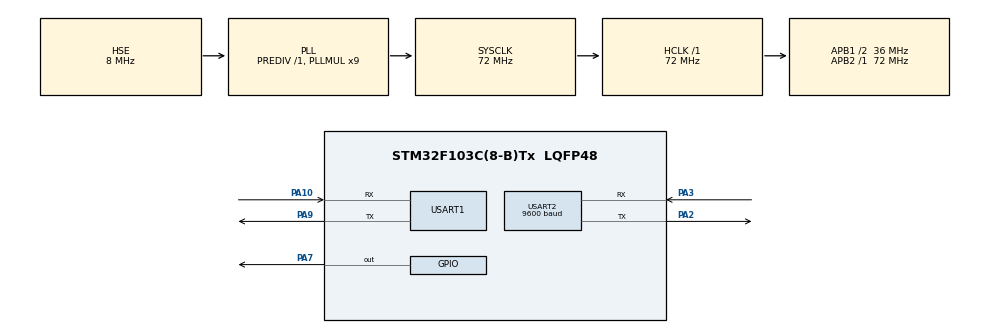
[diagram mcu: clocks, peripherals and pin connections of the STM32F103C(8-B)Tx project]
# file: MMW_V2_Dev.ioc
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Dma.Request0=USART2_RX
Dma.Request1=USART2_TX
Dma.Request2=USART1_RX
Dma.Request3=USART1_TX
Dma.USART1_RX.2.Direction=DMA_PERIPH_TO_MEMORY
Dma.USART1_RX.2.Instance=DMA1_Channel5
Dma.USART1_RX.2.MemDataAlignment=DMA_MDATAALIGN_BYTE
Dma.USART1_RX.2.MemInc=DMA_MINC_ENABLE
Dma.USART1_RX.2.Mode=DMA_CIRCULAR
Dma.USART1_RX.2.PeriphDataAlignment=DMA_PDATAALIGN_BYTE
Dma.USART1_RX.2.PeriphInc=DMA_PINC_DISABLE
Dma.USART1_RX.2.Priority=DMA_PRIORITY_LOW
Dma.USART1_TX.3.Direction=DMA_MEMORY_TO_PERIPH
Dma.USART1_TX.3.Instance=DMA1_Channel4
Dma.USART1_TX.3.MemDataAlignment=DMA_MDATAALIGN_BYTE
Dma.USART1_TX.3.MemInc=DMA_MINC_ENABLE
Dma.USART1_TX.3.Mode=DMA_CIRCULAR
Dma.USART1_TX.3.PeriphDataAlignment=DMA_PDATAALIGN_BYTE
Dma.USART1_TX.3.PeriphInc=DMA_PINC_DISABLE
Dma.USART1_TX.3.Priority=DMA_PRIORITY_LOW
Dma.USART2_RX.0.Direction=DMA_PERIPH_TO_MEMORY
Dma.USART2_RX.0.Instance=DMA1_Channel6
Dma.USART2_RX.0.MemDataAlignment=DMA_MDATAALIGN_BYTE
Dma.USART2_RX.0.MemInc=DMA_MINC_ENABLE
Dma.USART2_RX.0.Mode=DMA_CIRCULAR
Dma.USART2_RX.0.PeriphDataAlignment=DMA_PDATAALIGN_BYTE
Dma.USART2_RX.0.PeriphInc=DMA_PINC_DISABLE
Dma.USART2_RX.0.Priority=DMA_PRIORITY_LOW
Dma.USART2_TX.1.Direction=DMA_MEMORY_TO_PERIPH
Dma.USART2_TX.1.Instance=DMA1_Channel7
Dma.USART2_TX.1.MemDataAlignment=DMA_MDATAALIGN_BYTE
Dma.USART2_TX.1.MemInc=DMA_MINC_ENABLE
Dma.USART2_TX.1.Mode=DMA_CIRCULAR
Dma.USART2_TX.1.PeriphDataAlignment=DMA_PDATAALIGN_BYTE
Dma.USART2_TX.1.PeriphInc=DMA_PINC_DISABLE
Dma.USART2_TX.1.Priority=DMA_PRIORITY_LOW
Mcu.Family=STM32F1
Mcu.Name=STM32F103C(8-B)Tx
Mcu.Package=LQFP48
NVIC.DMA1_Channel4_IRQn=true\:0\:0\:false\:false\:true\:false\:true\:true
NVIC.DMA1_Channel5_IRQn=true\:0\:0\:false\:false\:true\:false\:true\:true
NVIC.DMA1_Channel6_IRQn=true\:0\:0\:false\:false\:true\:false\:true\:true
NVIC.DMA1_Channel7_IRQn=true\:0\:0\:false\:false\:true\:false\:true\:true
NVIC.PriorityGroup=NVIC_PRIORITYGROUP_4
NVIC.USART1_IRQn=true\:0\:0\:false\:false\:true\:true\:true\:true
NVIC.USART2_IRQn=true\:0\:0\:false\:false\:true\:true\:true\:true
PA10.Mode=Asynchronous
PA10.Signal=USART1_RX
PA13.Mode=Serial_Wire
PA13.Signal=SYS_JTMS-SWDIO
PA14.Mode=Serial_Wire
PA14.Signal=SYS_JTCK-SWCLK
PA2.Mode=Asynchronous
PA2.Signal=USART2_TX
PA3.Mode=Asynchronous
PA3.Signal=USART2_RX
PA7.Signal=GPIO_Output
PA9.Mode=Asynchronous
PA9.Signal=USART1_TX
PD0-OSC_IN.Mode=HSE-External-Oscillator
PD0-OSC_IN.Signal=RCC_OSC_IN
PD1-OSC_OUT.Mode=HSE-External-Oscillator
PD1-OSC_OUT.Signal=RCC_OSC_OUT
ProjectManager.HeapSize=0x200
ProjectManager.StackSize=0x400
ProjectManager.TargetToolchain=STM32CubeIDE
RCC.AHBFreq_Value=72000000
RCC.APB1CLKDivider=RCC_HCLK_DIV2
RCC.APB1Freq_Value=36000000
RCC.APB1TimFreq_Value=72000000
RCC.APB2Freq_Value=72000000
RCC.APB2TimFreq_Value=72000000
RCC.HCLKFreq_Value=72000000
RCC.PLLMUL=RCC_PLL_MUL9
RCC.PLLSourceVirtual=RCC_PLLSOURCE_HSE
RCC.SYSCLKFreq_VALUE=72000000
RCC.SYSCLKSource=RCC_SYSCLKSOURCE_PLLCLK
RCC.USBFreq_Value=72000000
TIM1.Period=0xffff-1
TIM1.Prescaler=72-1
USART1.VirtualMode=VM_ASYNC
USART2.BaudRate=9600
USART2.VirtualMode=VM_ASYNC
USART2.WordLength=WORDLENGTH_9B
VP_TIM1_VS_ClockSourceINT.Mode=Internal
board=custom

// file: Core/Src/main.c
/* USER CODE BEGIN Header */
/**
  ******************************************************************************
  * @file           : main.c
  * @brief          : Main program body
  ******************************************************************************
  * @attention
  *
  * Copyright (c) 2022 STMicroelectronics.
  * All rights reserved.
  *
  * This software is licensed under terms that can be found in the LICENSE file
  * in the root directory of this software component.
  * If no LICENSE file comes with this software, it is provided AS-IS.
  *
  ******************************************************************************
  */
/* USER CODE END Header */
#include "main.h"
#include "string.h"
#include "stdio.h"
//#include "Timing.hpp"
//#include "DS18B20.hpp"

 TIM_HandleTypeDef htim1;

UART_HandleTypeDef huart1;
UART_HandleTypeDef huart2;
DMA_HandleTypeDef hdma_usart1_rx;
DMA_HandleTypeDef hdma_usart1_tx;
DMA_HandleTypeDef hdma_usart2_rx;
DMA_HandleTypeDef hdma_usart2_tx;

void SystemClock_Config(void);
static void MX_GPIO_Init(void);
static void MX_DMA_Init(void);
static void MX_USART1_UART_Init(void);
static void MX_USART2_UART_Init(void);
static void MX_TIM1_Init(void);

/* USER CODE BEGIN 0 */

/**************************** Uart Buffers ****************************/

uint8_t Rx_data_from_stc[5];
uint8_t receivedData4G[2];

/**************************** Sensors Status ****************************/

int Drop_Status = 0; // -1 = DropFail, 0 = NoDrop, 1 = DropSuccess
int Door_Status = 0;

uint8_t dapat[2];//For debug purpose

/**************************** Single Motor Hex Return ****************************/

uint8_t Drop_Success[5] = {0xFB,  0x02,  0x05,  0x00,  0xFB};
uint8_t Drop_Not_Success[5] = {0xFB,  0x02,  0x02,  0x00,  0xFB};
uint8_t Motor_Error[5] = {0xFB,  0x02,  0x00,  0x00,  0xFB};

/**************************** Single Motor Hex Command ****************************/

uint16_t A1[6] = {0xFB,  0x02,  0x06,  0x0A,  0x01,  0xFB};
uint16_t A2[6] = {0xFB,  0x02,  0x06,  0x09,  0x01,  0xFB};
uint16_t A3[6] = {0xFB,  0x02,  0x06,  0x08,  0x01,  0xFB};
uint16_t A4[6] = {0xFB,  0x02,  0x06,  0x07,  0x01,  0xFB};
uint16_t A5[6] = {0xFB,  0x02,  0x06,  0x06,  0x01,  0xFB};
uint16_t A6[6] = {0xFB,  0x02,  0x06,  0x05,  0x01,  0xFB};
uint16_t A7[6] = {0xFB,  0x02,  0x06,  0x04,  0x01,  0xFB};
uint16_t A8[6] = {0xFB,  0x02,  0x06,  0x03,  0x01,  0xFB};
uint16_t A9[6] = {0xFB,  0x02,  0x06,  0x02,  0x01,  0xFB};
uint16_t A10[6] ={0xFB,  0x02,  0x06,  0x01,  0x01,  0xFB};
uint16_t B1[6] = {0xFB,  0x02,  0x05,  0x0A,  0x01,  0xFB};
uint16_t B2[6] = {0xFB,  0x02,  0x05,  0x09,  0x01,  0xFB};
uint16_t B3[6] = {0xFB,  0x02,  0x05,  0x08,  0x01,  0xFB};
uint16_t B4[6] = {0xFB,  0x02,  0x05,  0x07,  0x01,  0xFB};
uint16_t B5[6] = {0xFB,  0x02,  0x05,  0x06,  0x01,  0xFB};
uint16_t B6[6] = {0xFB,  0x02,  0x05,  0x05,  0x01,  0xFB};
uint16_t B7[6] = {0xFB,  0x02,  0x05,  0x04,  0x01,  0xFB};
uint16_t B8[6] = {0xFB,  0x02,  0x05,  0x03,  0x01,  0xFB};
uint16_t B9[6] = {0xFB,  0x02,  0x05,  0x02,  0x01,  0xFB};
uint16_t B10[6] ={0xFB,  0x02,  0x05,  0x01,  0x01,  0xFB};
uint16_t C1[6] = {0xFB,  0x02,  0x04,  0x0A,  0x01,  0xFB};
uint16_t C2[6] = {0xFB,  0x02,  0x04,  0x09,  0x01,  0xFB};
uint16_t C3[6] = {0xFB,  0x02,  0x04,  0x08,  0x01,  0xFB};
uint16_t C4[6] = {0xFB,  0x02,  0x04,  0x07,  0x01,  0xFB};
uint16_t C5[6] = {0xFB,  0x02,  0x04,  0x06,  0x01,  0xFB};
uint16_t C6[6] = {0xFB,  0x02,  0x04,  0x05,  0x01,  0xFB};
uint16_t C7[6] = {0xFB,  0x02,  0x04,  0x04,  0x01,  0xFB};
uint16_t C8[6] = {0xFB,  0x02,  0x04,  0x03,  0x01,  0xFB};
uint16_t C9[6] = {0xFB,  0x02,  0x04,  0x02,  0x01,  0xFB};
uint16_t C10[6] ={0xFB,  0x02,  0x04,  0x01,  0x01,  0xFB};
uint16_t D1[6] = {0xFB,  0x02,  0x03,  0x0A,  0x01,  0xFB};
uint16_t D2[6] = {0xFB,  0x02,  0x03,  0x09,  0x01,  0xFB};
uint16_t D3[6] = {0xFB,  0x02,  0x03,  0x08,  0x01,  0xFB};
uint16_t D4[6] = {0xFB,  0x02,  0x03,  0x07,  0x01,  0xFB};
uint16_t D5[6] = {0xFB,  0x02,  0x03,  0x06,  0x01,  0xFB};
uint16_t D6[6] = {0xFB,  0x02,  0x03,  0x05,  0x01,  0xFB};
uint16_t D7[6] = {0xFB,  0x02,  0x03,  0x04,  0x01,  0xFB};
uint16_t D8[6] = {0xFB,  0x02,  0x03,  0x03,  0x01,  0xFB};
uint16_t D9[6] = {0xFB,  0x02,  0x03,  0x02,  0x01,  0xFB};
uint16_t D10[6] ={0xFB,  0x02,  0x03,  0x01,  0x01,  0xFB};
uint16_t E1[6] = {0xFB,  0x02,  0x02,  0x0A,  0x01,  0xFB};
uint16_t E2[6] = {0xFB,  0x02,  0x02,  0x09,  0x01,  0xFB};
uint16_t E3[6] = {0xFB,  0x02,  0x02,  0x08,  0x01,  0xFB};
uint16_t E4[6] = {0xFB,  0x02,  0x02,  0x07,  0x01,  0xFB};
uint16_t E5[6] = {0xFB,  0x02,  0x02,  0x06,  0x01,  0xFB};
uint16_t E6[6] = {0xFB,  0x02,  0x02,  0x05,  0x01,  0xFB};
uint16_t E7[6] = {0xFB,  0x02,  0x02,  0x04,  0x01,  0xFB};
uint16_t E8[6] = {0xFB,  0x02,  0x02,  0x03,  0x01,  0xFB};
uint16_t E9[6] = {0xFB,  0x02,  0x02,  0x02,  0x01,  0xFB};
uint16_t E10[6] ={0xFB,  0x02,  0x02,  0x01,  0x01,  0xFB};
uint16_t F1[6] = {0xFB,  0x02,  0x01,  0x0A,  0x01,  0xFB};
uint16_t F2[6] = {0xFB,  0x02,  0x01,  0x09,  0x01,  0xFB};
uint16_t F3[6] = {0xFB,  0x02,  0x01,  0x08,  0x01,  0xFB};
uint16_t F4[6] = {0xFB,  0x02,  0x01,  0x07,  0x01,  0xFB};
uint16_t F5[6] = {0xFB,  0x02,  0x01,  0x06,  0x01,  0xFB};
uint16_t F6[6] = {0xFB,  0x02,  0x01,  0x05,  0x01,  0xFB};
uint16_t F7[6] = {0xFB,  0x02,  0x01,  0x04,  0x01,  0xFB};
uint16_t F8[6] = {0xFB,  0x02,  0x01,  0x03,  0x01,  0xFB};
uint16_t F9[6] = {0xFB,  0x02,  0x01,  0x02,  0x01,  0xFB};
uint16_t F10[6] ={0xFB,  0x02,  0x01,  0x01,  0x01,  0xFB};

uint8_t Temp_byte1;
uint8_t Temp_byte2;
uint16_t TEMP;

float Temperature = 0;
char TempString[4];
uint8_t Presence = 0;

void delay (uint32_t us)
{
    __HAL_TIM_SET_COUNTER(&htim1,0);
    while ((__HAL_TIM_GET_COUNTER(&htim1))<us);
}

void Set_Pin_Output (GPIO_TypeDef *GPIOx, uint16_t GPIO_Pin)
{
  GPIO_InitTypeDef GPIO_InitStruct = {0};
  GPIO_InitStruct.Pin = GPIO_Pin;
  GPIO_InitStruct.Mode = GPIO_MODE_OUTPUT_PP;
  GPIO_InitStruct.Speed = GPIO_SPEED_FREQ_LOW;
  HAL_GPIO_Init(GPIOx, &GPIO_InitStruct);
}

void Set_Pin_Input (GPIO_TypeDef *GPIOx, uint16_t GPIO_Pin)
{
  GPIO_InitTypeDef GPIO_InitStruct = {0};
  GPIO_InitStruct.Pin = GPIO_Pin;
  GPIO_InitStruct.Mode = GPIO_MODE_INPUT;
  GPIO_InitStruct.Pull = GPIO_NOPULL;
  HAL_GPIO_Init(GPIOA, &GPIO_InitStruct);
}

/**************************** DS18B20 FUNCTIONS ****************************/
#define DS18B20_PORT GPIOA
#define DS18B20_PIN GPIO_PIN_7

uint8_t DS18B20_Start (void)
{
	uint8_t Response = 0;
	Set_Pin_Output(DS18B20_PORT, DS18B20_PIN);   // set the pin as output
	HAL_GPIO_WritePin (DS18B20_PORT, DS18B20_PIN, 0);  // pull the pin low
	delay (480);   // delay according to datasheet

	Set_Pin_Input(DS18B20_PORT, DS18B20_PIN);    // set the pin as input
	delay (80);    // delay according to datasheet

	if (!(HAL_GPIO_ReadPin (DS18B20_PORT, DS18B20_PIN))) Response = 1;    // if the pin is low i.e the presence pulse is detected
	else Response = -1;

	delay (400); // 480 us delay totally.

	return Response;
}

void DS18B20_Write (uint8_t data)
{
	Set_Pin_Output(DS18B20_PORT, DS18B20_PIN);  // set as output

	for (int i=0; i<8; i++)
	{

		if ((data & (1<<i))!=0)  // if the bit is high
		{
			// write 1

			Set_Pin_Output(DS18B20_PORT, DS18B20_PIN);  // set as output
			HAL_GPIO_WritePin (DS18B20_PORT, DS18B20_PIN, 0);  // pull the pin LOW
			delay (1);  // wait for 1 us

			Set_Pin_Input(DS18B20_PORT, DS18B20_PIN);  // set as input
			delay (50);  // wait for 60 us
		}

		else  // if the bit is low
		{
			// write 0

			Set_Pin_Output(DS18B20_PORT, DS18B20_PIN);
			HAL_GPIO_WritePin (DS18B20_PORT, DS18B20_PIN, 0);  // pull the pin LOW
			delay (50);  // wait for 60 us

			Set_Pin_Input(DS18B20_PORT, DS18B20_PIN);
		}
	}
}

uint8_t DS18B20_Read (void)
{
	uint8_t value=0;
	Set_Pin_Input(DS18B20_PORT, DS18B20_PIN);

	for (int i=0;i<8;i++)
	{
		Set_Pin_Output(DS18B20_PORT, DS18B20_PIN);   // set as output

		HAL_GPIO_WritePin (DS18B20_PORT, DS18B20_PIN, 0);  // pull the data pin LOW
		delay (2);  // wait for 2 us

		Set_Pin_Input(DS18B20_PORT, DS18B20_PIN);  // set as input
		if (HAL_GPIO_ReadPin (DS18B20_PORT, DS18B20_PIN))  // if the pin is HIGH
		{
			value |= 1<<i;  // read = 1
		}
		delay (60);  // wait for 60 us
	}
	return value;
}

/**************************** UART CALLBACK FUNCTIONS ****************************/

char Tx_buff[20];

void HAL_UART_TxCpltCallback(UART_HandleTypeDef *huart)
{
	//HAL_UART_Transmit_IT(&huart2, Tx_data, sizeof(Tx_data));
}

void HAL_UART_RxCpltCallback(UART_HandleTypeDef *huart){
	HAL_UART_Receive_DMA(&huart2, Rx_data_from_stc, 5); //restart the interupt reception mode
	HAL_UART_Receive_IT(&huart1,receivedData4G, 2);

}

/**************************** LOOPING FUNCTIONS ****************************/

void write_read_Temperature(){

	  Presence = DS18B20_Start();
	  HAL_Delay (1);
	  DS18B20_Write (0xCC);  // skip ROM
	  DS18B20_Write (0x44);  // convert t
	  HAL_Delay (800);

	  Presence = DS18B20_Start();
	  HAL_Delay(1);
	  DS18B20_Write (0xCC);  // skip ROM
	  DS18B20_Write (0xBE);  // Read Scratch-pad

	  Temp_byte1 = DS18B20_Read();
	  Temp_byte2 = DS18B20_Read();

	  TEMP = (Temp_byte2<<8)|Temp_byte1;
	  Temperature = (float)TEMP/16;
	  gcvt(Temperature, 4, TempString);

	  //HAL_Delay(3000);
}

void transmit_Data_to_DTU(){

	if (strcmp(Rx_data_from_stc, Drop_Success) == 0){
		Drop_Status = 1;
		sprintf(Tx_buff, "%s_%d", TempString, Drop_Status);
		dapat[0] = 2;
		dapat[1] = 2;
		HAL_UART_Transmit_IT(&huart1, Tx_buff, sizeof(Tx_buff));
		for(int i = 0; i < sizeof(Rx_data_from_stc); i++){
			Rx_data_from_stc[i] = 0;
		}

	}
	else if (strcmp(Rx_data_from_stc, Drop_Not_Success) == 0){
		Drop_Status = -1;
		sprintf(Tx_buff, "%s_%d", TempString, Drop_Status);
		dapat[0] = 3;
		dapat[1] = 3;
		HAL_UART_Transmit_IT(&huart1, Tx_buff, sizeof(Tx_buff));
		for(int i = 0; i < sizeof(Rx_data_from_stc); i++){
			Rx_data_from_stc[i] = 0;
		}
	}
	else if (strcmp(Rx_data_from_stc, Motor_Error) == 0){
		HAL_UART_Transmit_IT(&huart1, "ME\n", 5);
		dapat[0] = 4;
		dapat[1] = 4;
	}
	else{

	}
}

void receive_Command_from_DTU(void){

	/**************************** Run Single Motor ****************************/
	/////TRAY A/////
	if(strcmp(receivedData4G, "A1") == 0){       		//A1
	     HAL_UART_Transmit_IT(&huart2, (uint8_t *)A1, 6);
	     HAL_Delay(2000);
	     receivedData4G[0] = 0;
	     receivedData4G[1] = 0;
	}

	 else if (strcmp(receivedData4G, "A2") == 0){       //A2
	     HAL_UART_Transmit_IT(&huart2, (uint8_t *)A2, 6);
	     HAL_Delay(2000);
	     receivedData4G[0] = 0;
	     receivedData4G[1] = 0;
	  }
	 else if (strcmp(receivedData4G, "A3") == 0){       //A3
	     HAL_UART_Transmit_IT(&huart2, (uint8_t *)A3, 6);
	     HAL_Delay(2000);
	     receivedData4G[0] = 0;
	     receivedData4G[1] = 0;
	  }
	 else if (strcmp(receivedData4G, "A4") == 0){       //A4
	     HAL_UART_Transmit_IT(&huart2, (uint8_t *)A4, 6);
	     HAL_Delay(2000);
	     receivedData4G[0] = 0;
	     receivedData4G[1] = 0;
	  }
	 else if (strcmp(receivedData4G, "A5") == 0){       //A5
	     HAL_UART_Transmit_IT(&huart2, (uint8_t *)A5, 6);
	     HAL_Delay(2000);
	     receivedData4G[0] = 0;
	     receivedData4G[1] = 0;
	  }
	 else if (strcmp(receivedData4G, "A6") == 0){       //A6
	     HAL_UART_Transmit_IT(&huart2, (uint8_t *)A6, 6);
	     HAL_Delay(2000);
	     receivedData4G[0] = 0;
	     receivedData4G[1] = 0;
	  }
	 else if (strcmp(receivedData4G, "A7") == 0){       //A7
	     HAL_UART_Transmit_IT(&huart2, (uint8_t *)A7, 6);
	     HAL_Delay(2000);
	     receivedData4G[0] = 0;
	     receivedData4G[1] = 0;
	  }
	 else if (strcmp(receivedData4G, "A8") == 0){       //A8
	     HAL_UART_Transmit_IT(&huart2, (uint8_t *)A8, 6);
	     HAL_Delay(2000);
	     receivedData4G[0] = 0;
	     receivedData4G[1] = 0;
	  }
	 else if (strcmp(receivedData4G, "A9") == 0){       //A9
	     HAL_UART_Transmit_IT(&huart2, (uint8_t *)A9, 6);
	     HAL_Delay(2000);
	     receivedData4G[0] = 0;
	     receivedData4G[1] = 0;
	  }
	 else if (strcmp(receivedData4G, "AA") == 0){       //A10
	     HAL_UART_Transmit_IT(&huart2, (uint8_t *)A10, 6);
	     HAL_Delay(2000);
	     receivedData4G[0] = 0;
	     receivedData4G[1] = 0;
	  }
	 /////TRAY B/////
	 else if (strcmp(receivedData4G, "B1") == 0){       //B1
	     HAL_UART_Transmit_IT(&huart2, (uint8_t *)B1, 6);
	     HAL_Delay(2000);
	     receivedData4G[0] = 0;
	     receivedData4G[1] = 0;
	  }
	 else if (strcmp(receivedData4G, "B2") == 0){       //B2
	     HAL_UART_Transmit_IT(&huart2, (uint8_t *)B2, 6);
	     HAL_Delay(2000);
	     receivedData4G[0] = 0;
	     receivedData4G[1] = 0;
	  }
	 else if (strcmp(receivedData4G, "B3") == 0){       //B3
	     HAL_UART_Transmit_IT(&huart2, (uint8_t *)B3, 6);
	     HAL_Delay(2000);
	     receivedData4G[0] = 0;
	     receivedData4G[1] = 0;
	  }
	 else if (strcmp(receivedData4G, "B4") == 0){       //B4
	     HAL_UART_Transmit_IT(&huart2, (uint8_t *)B4, 6);
	     HAL_Delay(2000);
	     receivedData4G[0] = 0;
	     receivedData4G[1] = 0;
	  }
	 else if (strcmp(receivedData4G, "B5") == 0){       //B5
	     HAL_UART_Transmit_IT(&huart2, (uint8_t *)B5, 6);
	     HAL_Delay(2000);
	     receivedData4G[0] = 0;
	     receivedData4G[1] = 0;
	  }
	 else if (strcmp(receivedData4G, "B6") == 0){       //B6
	     HAL_UART_Transmit_IT(&huart2, (uint8_t *)B6, 6);
	     HAL_Delay(2000);
	     receivedData4G[0] = 0;
	     receivedData4G[1] = 0;
	  }
	 else if (strcmp(receivedData4G, "B7") == 0){       //B7
	     HAL_UART_Transmit_IT(&huart2, (uint8_t *)B7, 6);
	     HAL_Delay(2000);
	     receivedData4G[0] = 0;
	     receivedData4G[1] = 0;
	  }
	 else if (strcmp(receivedData4G, "B8") == 0){       //B8
	     HAL_UART_Transmit_IT(&huart2, (uint8_t *)B8, 6);
	     HAL_Delay(2000);
	     receivedData4G[0] = 0;
	     receivedData4G[1] = 0;
	  }
	 else if (strcmp(receivedData4G, "B9") == 0){       //B9
	     HAL_UART_Transmit_IT(&huart2, (uint8_t *)B9, 6);
	     HAL_Delay(2000);
	     receivedData4G[0] = 0;
	     receivedData4G[1] = 0;
	  }
	 else if (strcmp(receivedData4G, "BB") == 0){       //B10
	     HAL_UART_Transmit_IT(&huart2, (uint8_t *)B10, 6);
	     HAL_Delay(2000);
	     receivedData4G[0] = 0;
	     receivedData4G[1] = 0;
	  }
	 /////TRAY C/////
	 else if (strcmp(receivedData4G, "C1") == 0){       //C1
	     HAL_UART_Transmit_IT(&huart2, (uint8_t *)C1, 6);
	     HAL_Delay(2000);
	     receivedData4G[0] = 0;
	     receivedData4G[1] = 0;
	  }
	 else if (strcmp(receivedData4G, "C2") == 0){       //C2
	     HAL_UART_Transmit_IT(&huart2, (uint8_t *)C2, 6);
	     HAL_Delay(2000);
	     receivedData4G[0] = 0;
	     receivedData4G[1] = 0;
	  }
	 else if (strcmp(receivedData4G, "C3") == 0){       //C3
	     HAL_UART_Transmit_IT(&huart2, (uint8_t *)C3, 6);
	     HAL_Delay(2000);
	     receivedData4G[0] = 0;
	     receivedData4G[1] = 0;
	  }
	 else if (strcmp(receivedData4G, "C4") == 0){       //C4
	     HAL_UART_Transmit_IT(&huart2, (uint8_t *)C4, 6);
	     HAL_Delay(2000);
	     receivedData4G[0] = 0;
	     receivedData4G[1] = 0;
	  }
	 else if (strcmp(receivedData4G, "C5") == 0){       //C5
	     HAL_UART_Transmit_IT(&huart2, (uint8_t *)C5, 6);
	     HAL_Delay(2000);
	     receivedData4G[0] = 0;
	     receivedData4G[1] = 0;
	  }
	 else if (strcmp(receivedData4G, "C6") == 0){       //C6
	     HAL_UART_Transmit_IT(&huart2, (uint8_t *)C6, 6);
	     HAL_Delay(2000);
	     receivedData4G[0] = 0;
	     receivedData4G[1] = 0;
	  }
	 else if (strcmp(receivedData4G, "C7") == 0){       //C7
	     HAL_UART_Transmit_IT(&huart2, (uint8_t *)C7, 6);
	     HAL_Delay(2000);
	     receivedData4G[0] = 0;
	     receivedData4G[1] = 0;
	  }
	 else if (strcmp(receivedData4G, "C8") == 0){       //C8
	     HAL_UART_Transmit_IT(&huart2, (uint8_t *)C8, 6);
	     HAL_Delay(2000);
	     receivedData4G[0] = 0;
	     receivedData4G[1] = 0;
	  }
	 else if (strcmp(receivedData4G, "C9") == 0){       //C9
	     HAL_UART_Transmit_IT(&huart2, (uint8_t *)C9, 6);
	     HAL_Delay(2000);
	     receivedData4G[0] = 0;
	     receivedData4G[1] = 0;
	  }
	 else if (strcmp(receivedData4G, "CC") == 0){       //C10
	     HAL_UART_Transmit_IT(&huart2, (uint8_t *)C10, 6);
	     HAL_Delay(2000);
	     receivedData4G[0] = 0;
	     receivedData4G[1] = 0;
	  }
	 /////TRAY D/////
	 else if (strcmp(receivedData4G, "D1") == 0){       //D1
	     HAL_UART_Transmit_IT(&huart2, (uint8_t *)D1, 6);
	     HAL_Delay(2000);
	     receivedData4G[0] = 0;
	     receivedData4G[1] = 0;
	  }
	 else if (strcmp(receivedData4G, "D2") == 0){       //D2
	     HAL_UART_Transmit_IT(&huart2, (uint8_t *)D2, 6);
	     HAL_Delay(2000);
	     receivedData4G[0] = 0;
	     receivedData4G[1] = 0;
	  }
	 else if (strcmp(receivedData4G, "D3") == 0){       //D3
	     HAL_UART_Transmit_IT(&huart2, (uint8_t *)D3, 6);
	     HAL_Delay(2000);
	     receivedData4G[0] = 0;
	     receivedData4G[1] = 0;
	  }
	 else if (strcmp(receivedData4G, "D4") == 0){       //D4
	     HAL_UART_Transmit_IT(&huart2, (uint8_t *)D4, 6);
	     HAL_Delay(2000);
	     receivedData4G[0] = 0;
	     receivedData4G[1] = 0;
	  }
	 else if (strcmp(receivedData4G, "D5") == 0){       //D5
	     HAL_UART_Transmit_IT(&huart2, (uint8_t *)D5, 6);
	     HAL_Delay(2000);
	     receivedData4G[0] = 0;
	     receivedData4G[1] = 0;
	  }
	 else if (strcmp(receivedData4G, "D6") == 0){       //D6
	     HAL_UART_Transmit_IT(&huart2, (uint8_t *)D6, 6);
	     HAL_Delay(2000);
	     receivedData4G[0] = 0;
	     receivedData4G[1] = 0;
	  }
	 else if (strcmp(receivedData4G, "D7") == 0){       //D7
	     HAL_UART_Transmit_IT(&huart2, (uint8_t *)D7, 6);
	     HAL_Delay(2000);
	     receivedData4G[0] = 0;
	     receivedData4G[1] = 0;
	  }
	 else if (strcmp(receivedData4G, "D8") == 0){       //D8
	     HAL_UART_Transmit_IT(&huart2, (uint8_t *)D8, 6);
	     HAL_Delay(2000);
	     receivedData4G[0] = 0;
	     receivedData4G[1] = 0;
	  }
	 else if (strcmp(receivedData4G, "D9") == 0){       //D9
	     HAL_UART_Transmit_IT(&huart2, (uint8_t *)D9, 6);
	     HAL_Delay(2000);
	     receivedData4G[0] = 0;
	     receivedData4G[1] = 0;
	  }
	 else if (strcmp(receivedData4G, "DD") == 0){       //D10
	     HAL_UART_Transmit_IT(&huart2, (uint8_t *)D10, 6);
	     HAL_Delay(2000);
	     receivedData4G[0] = 0;
	     receivedData4G[1] = 0;
	  }
	 /////TRAY E/////
	 else if (strcmp(receivedData4G, "E1") == 0){       //E1
	     HAL_UART_Transmit_IT(&huart2, (uint8_t *)E1, 6);
	     HAL_Delay(2000);
	     receivedData4G[0] = 0;
	     receivedData4G[1] = 0;
	  }
	 else if (strcmp(receivedData4G, "E2") == 0){       //E2
	     HAL_UART_Transmit_IT(&huart2, (uint8_t *)E2, 6);
	     HAL_Delay(2000);
	     receivedData4G[0] = 0;
	     receivedData4G[1] = 0;
	  }
	 else if (strcmp(receivedData4G, "E3") == 0){       //E3
	     HAL_UART_Transmit_IT(&huart2, (uint8_t *)E3, 6);
	     HAL_Delay(2000);
	     receivedData4G[0] = 0;
	     receivedData4G[1] = 0;
	  }
	 else if (strcmp(receivedData4G, "E4") == 0){       //E4
	     HAL_UART_Transmit_IT(&huart2, (uint8_t *)E4, 6);
	     HAL_Delay(2000);
	     receivedData4G[0] = 0;
	     receivedData4G[1] = 0;
	  }
	 else if (strcmp(receivedData4G, "E5") == 0){       //E5
	     HAL_UART_Transmit_IT(&huart2, (uint8_t *)E5, 6);
	     HAL_Delay(2000);
	     receivedData4G[0] = 0;
	     receivedData4G[1] = 0;
	  }
	 else if (strcmp(receivedData4G, "E6") == 0){       //E6
	     HAL_UART_Transmit_IT(&huart2, (uint8_t *)E6, 6);
	     HAL_Delay(2000);
	     receivedData4G[0] = 0;
	     receivedData4G[1] = 0;
	  }
	 else if (strcmp(receivedData4G, "E7") == 0){       //E7
	     HAL_UART_Transmit_IT(&huart2, (uint8_t *)E7, 6);
	     HAL_Delay(2000);
	     receivedData4G[0] = 0;
	     receivedData4G[1] = 0;
	  }
	 else if (strcmp(receivedData4G, "E8") == 0){       //E8
	     HAL_UART_Transmit_IT(&huart2, (uint8_t *)E8, 6);
	     HAL_Delay(2000);
	     receivedData4G[0] = 0;
	     receivedData4G[1] = 0;
	  }
	 else if (strcmp(receivedData4G, "E9") == 0){       //E9
	     HAL_UART_Transmit_IT(&huart2, (uint8_t *)E9, 6);
	     HAL_Delay(2000);
	     receivedData4G[0] = 0;
	     receivedData4G[1] = 0;
	  }
	 else if (strcmp(receivedData4G, "EE") == 0){       //E10
	     HAL_UART_Transmit_IT(&huart2, (uint8_t *)E10, 6);
	     HAL_Delay(2000);
	     receivedData4G[0] = 0;
	     receivedData4G[1] = 0;
	  }
	 /////TRAY F/////
	 else if (strcmp(receivedData4G, "F1") == 0){       //F1
	     HAL_UART_Transmit_IT(&huart2, (uint8_t *)F1, 6);
	     HAL_Delay(2000);
	     receivedData4G[0] = 0;
	     receivedData4G[1] = 0;
	  }
	 else if (strcmp(receivedData4G, "F2") == 0){       //F2
	     HAL_UART_Transmit_IT(&huart2, (uint8_t *)F2, 6);
	     HAL_Delay(2000);
	     receivedData4G[0] = 0;
	     receivedData4G[1] = 0;
	  }
	 else if (strcmp(receivedData4G, "F3") == 0){       //F3
	     HAL_UART_Transmit_IT(&huart2, (uint8_t *)F3, 6);
	     HAL_Delay(2000);
	     receivedData4G[0] = 0;
	     receivedData4G[1] = 0;
	  }
	 else if (strcmp(receivedData4G, "F4") == 0){       //F4
	     HAL_UART_Transmit_IT(&huart2, (uint8_t *)F4, 6);
	     HAL_Delay(2000);
	     receivedData4G[0] = 0;
	     receivedData4G[1] = 0;
	  }
	 else if (strcmp(receivedData4G, "F5") == 0){       //F5
	     HAL_UART_Transmit_IT(&huart2, (uint8_t *)F5, 6);
	     HAL_Delay(2000);
	     receivedData4G[0] = 0;
	     receivedData4G[1] = 0;
	  }
	 else if (strcmp(receivedData4G, "F6") == 0){       //F6
	     HAL_UART_Transmit_IT(&huart2, (uint8_t *)F6, 6);
	     HAL_Delay(2000);
	     receivedData4G[0] = 0;
	     receivedData4G[1] = 0;
	  }
	 else if (strcmp(receivedData4G, "F7") == 0){       //F7
	     HAL_UART_Transmit_IT(&huart2, (uint8_t *)F7, 6);
	     HAL_Delay(2000);
	     receivedData4G[0] = 0;
	     receivedData4G[1] = 0;
	  }
	 else if (strcmp(receivedData4G, "F8") == 0){       //F8
	     HAL_UART_Transmit_IT(&huart2, (uint8_t *)F8, 6);
	     HAL_Delay(2000);
	     receivedData4G[0] = 0;
	     receivedData4G[1] = 0;
	  }
	 else if (strcmp(receivedData4G, "F9") == 0){       //F9
	     HAL_UART_Transmit_IT(&huart2, (uint8_t *)F9, 6);
	     HAL_Delay(2000);
	     receivedData4G[0] = 0;
	     receivedData4G[1] = 0;
	  }
	 else if (strcmp(receivedData4G, "FF") == 0){       //F10
	     HAL_UART_Transmit_IT(&huart2, (uint8_t *)F10, 6);
	     HAL_Delay(2000);
	     receivedData4G[0] = 0;
	     receivedData4G[1] = 0;
	  }

	/*********************** Request temp, doorStatus, dropSensor ***********************/

//	 else if (strcmp(receivedData4G, "YO\n") == 0){       //
//	     HAL_UART_Transmit_IT(&huart2, (uint8_t *)F10, 6);
//	     HAL_Delay(2000);
//	     receivedData4G[0] = 0;
//	     receivedData4G[1] = 0;
//	  }

	 else {

	 }

}

/* USER CODE END 0 */

int main(void)
{

  /* MCU Configuration--------------------------------------------------------*/

  /* Reset of all peripherals, Initializes the Flash interface and the Systick. */
  HAL_Init();

  /* Configure the system clock */
  SystemClock_Config();

  /* Initialize all configured peripherals */
  MX_GPIO_Init();
  MX_DMA_Init();
  MX_USART1_UART_Init();
  MX_USART2_UART_Init();
  MX_TIM1_Init();
  /* USER CODE BEGIN 2 */
  HAL_TIM_Base_Start(&htim1);
  HAL_UART_Receive_DMA(&huart2, Rx_data_from_stc, 5);
  HAL_UART_Receive_IT(&huart1,receivedData4G, 2);
  /* USER CODE END 2 */

  /* Infinite loop */
  while (1)
  {
	  /**************************** Uart Transmit & Receive ****************************/
	  receive_Command_from_DTU();
	  transmit_Data_to_DTU();
	  /**************************** DS18B20 ****************************/
	  write_read_Temperature();

  }
}

void SystemClock_Config(void)
{
  RCC_OscInitTypeDef RCC_OscInitStruct = {0};
  RCC_ClkInitTypeDef RCC_ClkInitStruct = {0};

  /** Initializes the RCC Oscillators according to the specified parameters
  * in the RCC_OscInitTypeDef structure.
  */
  RCC_OscInitStruct.OscillatorType = RCC_OSCILLATORTYPE_HSE;
  RCC_OscInitStruct.HSEState = RCC_HSE_ON;
  RCC_OscInitStruct.HSEPredivValue = RCC_HSE_PREDIV_DIV1;
  RCC_OscInitStruct.HSIState = RCC_HSI_ON;
  RCC_OscInitStruct.PLL.PLLState = RCC_PLL_ON;
  RCC_OscInitStruct.PLL.PLLSource = RCC_PLLSOURCE_HSE;
  RCC_OscInitStruct.PLL.PLLMUL = RCC_PLL_MUL9;
  if (HAL_RCC_OscConfig(&RCC_OscInitStruct) != HAL_OK)
  {
    Error_Handler();
  }

  /** Initializes the CPU, AHB and APB buses clocks
  */
  RCC_ClkInitStruct.ClockType = RCC_CLOCKTYPE_HCLK|RCC_CLOCKTYPE_SYSCLK
                              |RCC_CLOCKTYPE_PCLK1|RCC_CLOCKTYPE_PCLK2;
  RCC_ClkInitStruct.SYSCLKSource = RCC_SYSCLKSOURCE_PLLCLK;
  RCC_ClkInitStruct.AHBCLKDivider = RCC_SYSCLK_DIV1;
  RCC_ClkInitStruct.APB1CLKDivider = RCC_HCLK_DIV2;
  RCC_ClkInitStruct.APB2CLKDivider = RCC_HCLK_DIV1;

  if (HAL_RCC_ClockConfig(&RCC_ClkInitStruct, FLASH_LATENCY_2) != HAL_OK)
  {
    Error_Handler();
  }
}

static void MX_TIM1_Init(void)
{

  TIM_ClockConfigTypeDef sClockSourceConfig = {0};
  TIM_MasterConfigTypeDef sMasterConfig = {0};

  htim1.Instance = TIM1;
  htim1.Init.Prescaler = 72-1;
  htim1.Init.CounterMode = TIM_COUNTERMODE_UP;
  htim1.Init.Period = 0xffff-1;
  htim1.Init.ClockDivision = TIM_CLOCKDIVISION_DIV1;
  htim1.Init.RepetitionCounter = 0;
  htim1.Init.AutoReloadPreload = TIM_AUTORELOAD_PRELOAD_DISABLE;
  if (HAL_TIM_Base_Init(&htim1) != HAL_OK)
  {
    Error_Handler();
  }
  sClockSourceConfig.ClockSource = TIM_CLOCKSOURCE_INTERNAL;
  if (HAL_TIM_ConfigClockSource(&htim1, &sClockSourceConfig) != HAL_OK)
  {
    Error_Handler();
  }
  sMasterConfig.MasterOutputTrigger = TIM_TRGO_RESET;
  sMasterConfig.MasterSlaveMode = TIM_MASTERSLAVEMODE_DISABLE;
  if (HAL_TIMEx_MasterConfigSynchronization(&htim1, &sMasterConfig) != HAL_OK)
  {
    Error_Handler();
  }

}

static void MX_USART1_UART_Init(void)
{

  huart1.Instance = USART1;
  huart1.Init.BaudRate = 115200;
  huart1.Init.WordLength = UART_WORDLENGTH_8B;
  huart1.Init.StopBits = UART_STOPBITS_1;
  huart1.Init.Parity = UART_PARITY_NONE;
  huart1.Init.Mode = UART_MODE_TX_RX;
  huart1.Init.HwFlowCtl = UART_HWCONTROL_NONE;
  huart1.Init.OverSampling = UART_OVERSAMPLING_16;
  if (HAL_UART_Init(&huart1) != HAL_OK)
  {
    Error_Handler();
  }

}

static void MX_USART2_UART_Init(void)
{

  huart2.Instance = USART2;
  huart2.Init.BaudRate = 9600;
  huart2.Init.WordLength = UART_WORDLENGTH_9B;
  huart2.Init.StopBits = UART_STOPBITS_1;
  huart2.Init.Parity = UART_PARITY_NONE;
  huart2.Init.Mode = UART_MODE_TX_RX;
  huart2.Init.HwFlowCtl = UART_HWCONTROL_NONE;
  huart2.Init.OverSampling = UART_OVERSAMPLING_16;
  if (HAL_UART_Init(&huart2) != HAL_OK)
  {
    Error_Handler();
  }

}

static void MX_DMA_Init(void)
{

  /* DMA controller clock enable */
  __HAL_RCC_DMA1_CLK_ENABLE();

  /* DMA interrupt init */
  /* DMA1_Channel4_IRQn interrupt configuration */
  HAL_NVIC_SetPriority(DMA1_Channel4_IRQn, 0, 0);
  HAL_NVIC_EnableIRQ(DMA1_Channel4_IRQn);
  /* DMA1_Channel5_IRQn interrupt configuration */
  HAL_NVIC_SetPriority(DMA1_Channel5_IRQn, 0, 0);
  HAL_NVIC_EnableIRQ(DMA1_Channel5_IRQn);
  /* DMA1_Channel6_IRQn interrupt configuration */
  HAL_NVIC_SetPriority(DMA1_Channel6_IRQn, 0, 0);
  HAL_NVIC_EnableIRQ(DMA1_Channel6_IRQn);
  /* DMA1_Channel7_IRQn interrupt configuration */
  HAL_NVIC_SetPriority(DMA1_Channel7_IRQn, 0, 0);
  HAL_NVIC_EnableIRQ(DMA1_Channel7_IRQn);

}

static void MX_GPIO_Init(void)
{
  GPIO_InitTypeDef GPIO_InitStruct = {0};

  /* GPIO Ports Clock Enable */
  __HAL_RCC_GPIOD_CLK_ENABLE();
  __HAL_RCC_GPIOA_CLK_ENABLE();

  /*Configure GPIO pin Output Level */
  HAL_GPIO_WritePin(GPIOA, GPIO_PIN_7, GPIO_PIN_RESET);

  /*Configure GPIO pin : PA7 */
  GPIO_InitStruct.Pin = GPIO_PIN_7;
  GPIO_InitStruct.Mode = GPIO_MODE_OUTPUT_PP;
  GPIO_InitStruct.Pull = GPIO_NOPULL;
  GPIO_InitStruct.Speed = GPIO_SPEED_FREQ_LOW;
  HAL_GPIO_Init(GPIOA, &GPIO_InitStruct);

}

void Error_Handler(void)
{
  __disable_irq();
  while (1)
  {
  }
}
